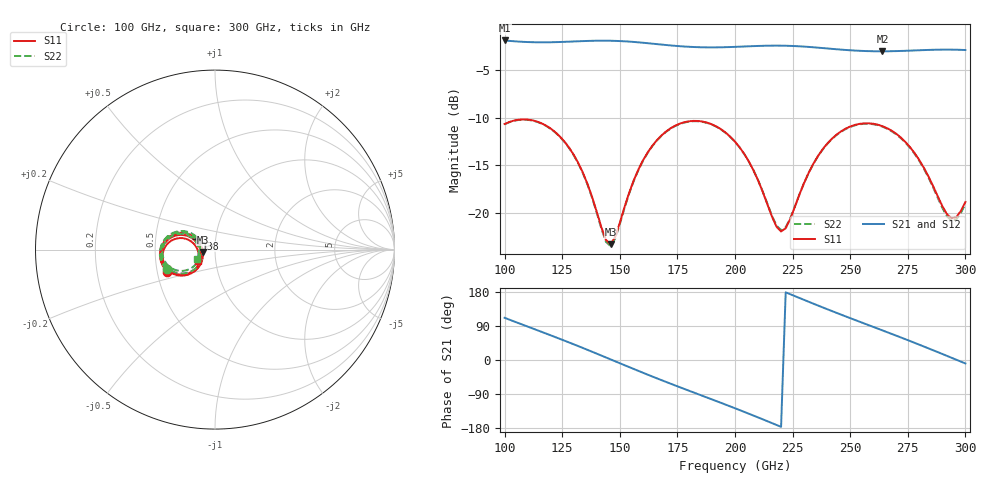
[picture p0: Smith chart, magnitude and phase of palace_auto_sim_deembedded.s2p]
! Created with skrf 1.11.0 (http://scikit-rf.org).
# GHz S DB R 50.0
!freq dBS11 angS11 dBS21 angS21 dBS12 angS12 dBS22 angS22
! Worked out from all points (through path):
!   101 points, 100 GHz to 300 GHz, reference 50 ohm
!   highest |S21| = -1.93 dB at 100 GHz (marker M1); lowest = -3.1 dB at 264 GHz (marker M2)
!   group delay of S21, straight-line fit = 6.68 ps
!   lowest |S11| = -23.3 dB at 146 GHz (marker M3), VSWR 1.15, Z = 43.7 - j1.1 ohm
!   |S11| at or under -10 dB: start of sweep to end of sweep
!   |S22| runs from -23.5 to -10.2 dB; largest |S21 - S12| = 1.2e-13
!   S11 on the Smith chart (normalised r, x): 100 GHz: 0.57, -0.15; 138 GHz: 0.81, +0.10; 300 GHz: 0.82, -0.11
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100  -10.68 -155.3  -1.93 111.3  -1.93 111.3  -10.70 -157.8
108  -10.19 -170.5  -2.07 92.8  -2.07 92.8  -10.22 -173.1
118  -10.84 171.3  -2.12 69.8  -2.12 69.8  -10.88 168.3
126  -12.52 158.0  -2.07 51.0  -2.07 51.0  -12.56 154.7
134  -15.78 149.0  -2.00 31.6  -2.00 31.6  -15.84 145.4
138  -18.33 149.7  -1.97 21.7  -1.97 21.7  -18.42 145.9
144  -22.82 173.6  -1.95 6.7  -1.95 6.7  -23.01 169.8
146  -23.25 -169.5  -1.96 1.6  -1.96 1.6  -23.47 -172.8
158  -15.48 -133.4  -2.12 -28.5  -2.12 -28.5  -15.54 -136.7
168  -11.89 -146.0  -2.36 -52.9  -2.36 -52.9  -11.93 -149.6
184  -10.36 -173.3  -2.63 -90.2  -2.63 -90.2  -10.39 -177.4
200  -12.53 161.1  -2.60 -127.4  -2.60 -127.4  -12.54 156.7
210  -16.57 153.4  -2.51 -151.5  -2.51 -151.5  -16.55 148.8
220  -21.92 -172.6  -2.47 -176.4  -2.47 -176.4  -21.79 -178.0
234  -14.84 -136.6  -2.64 148.7  -2.64 148.7  -14.86 -142.7
248  -11.17 -154.4  -2.92 115.2  -2.92 115.2  -11.21 -160.8
264  -10.90 -180.0  -3.06 78.1  -3.06 78.1  -10.96 173.1
268  -11.38 174.0  -3.05 68.9  -3.05 68.9  -11.44 167.0
280  -14.45 160.4  -2.96 40.4  -2.96 40.4  -14.54 152.9
292  -20.12 177.8  -2.89 10.9  -2.89 10.9  -20.35 170.0
296  -20.43 -161.5  -2.90 0.9  -2.90 0.9  -20.68 -168.7
300  -18.85 -145.3  -2.93 -9.1  -2.93 -9.1  -19.04 -152.3
